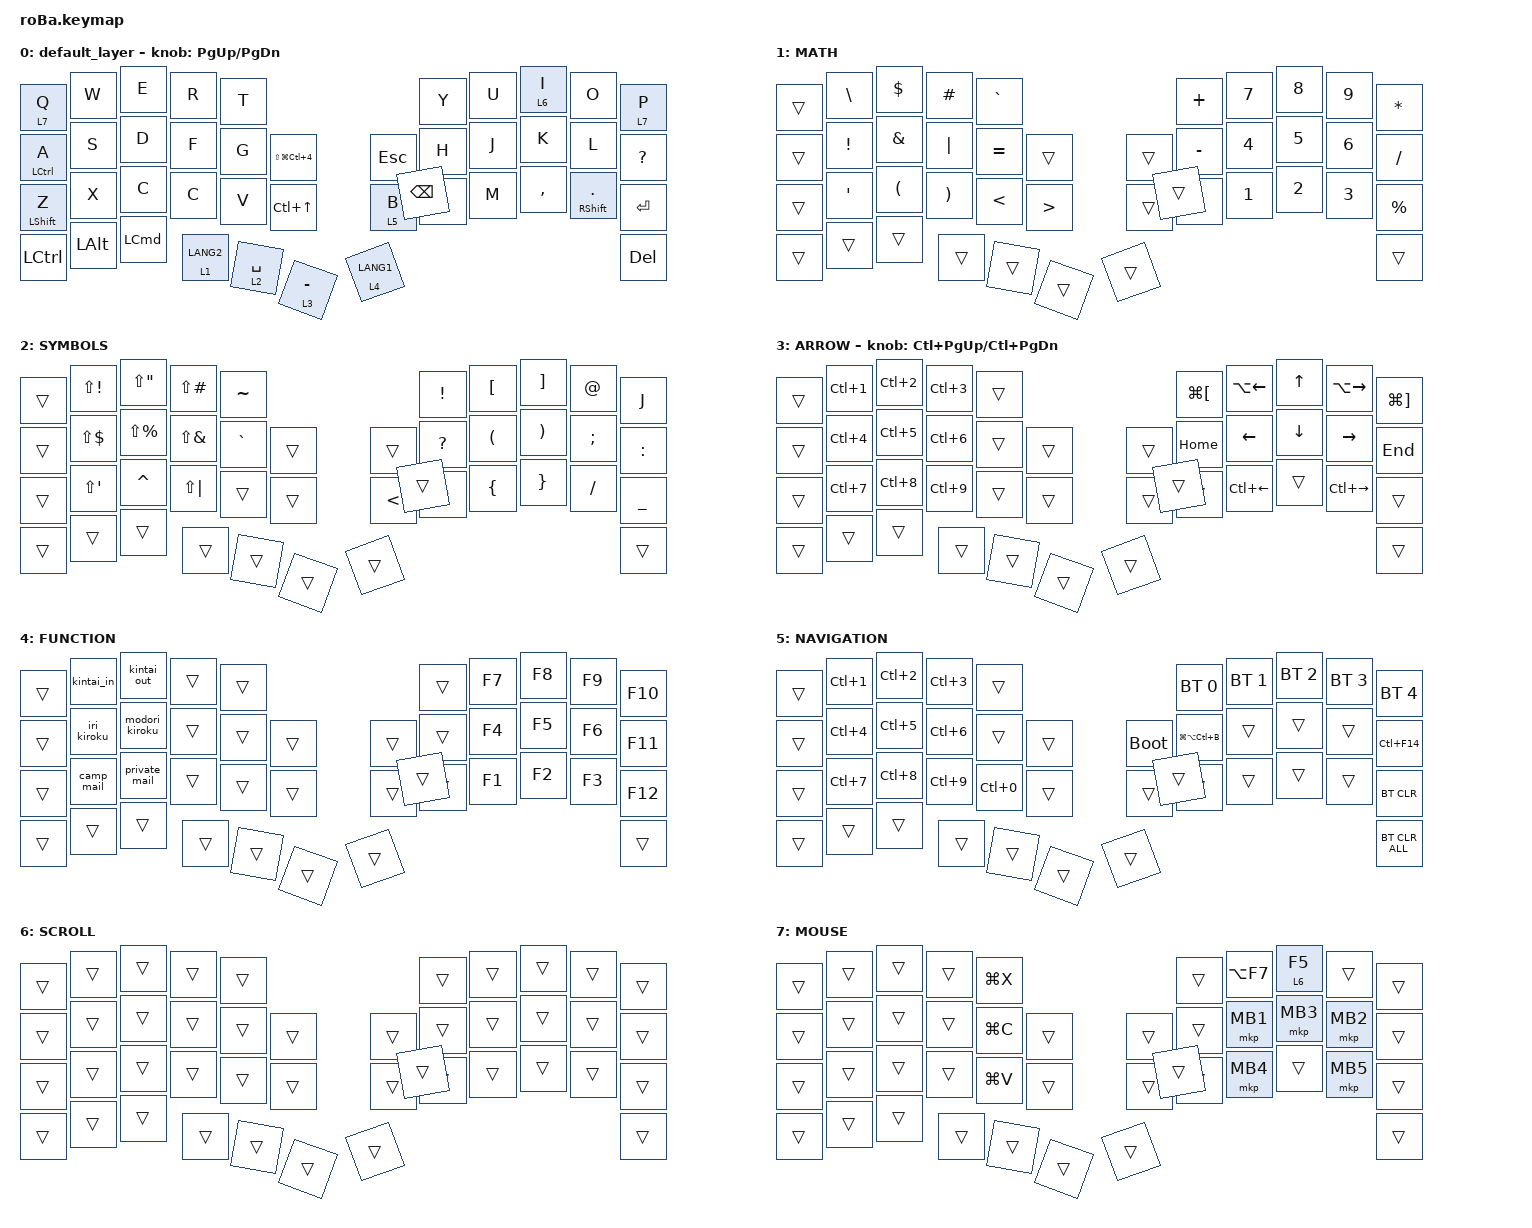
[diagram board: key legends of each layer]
#include <behaviors.dtsi>
#include <dt-bindings/zmk/bt.h>
#include <dt-bindings/zmk/keys.h>
#include <dt-bindings/zmk/pointing.h>

&mt {
    flavor = "balanced";
    quick-tap-ms = <0>;
};

&trackball {
    automouse-layer = <7>;
    scroll-layers = <6>;

    // arrows {
    //     layers = <3>;
    //     bindings =
    //         <&kp RIGHT_ARROW>,
    //         <&kp LEFT_ARROW>,
    //         <&kp UP_ARROW>,
    //         <&kp DOWN_ARROW>;
    //     tick = <10>;
    //     wait-ms = <5>;
    //     tap-ms = <5>;
    // };
};

/ {
    combos {
        compatible = "zmk,combos";

        tab {
            bindings = <&kp TAB>;
            key-positions = <11 10>;
        };

        shift_tab {
            bindings = <&kp LS(TAB)>;
            key-positions = <12 11>;
        };

        escape {
            bindings = <&kp ESCAPE>;
            key-positions = <0 1>;
        };

        leftB {
            bindings = <&kp B>;
            key-positions = <27 26>;
        };

        chikyu {
            bindings = <&kp GLOBE>;
            key-positions = <39 40>;
        };
    };

    macros {
        to_layer_0: to_layer_0 {
            compatible = "zmk,behavior-macro-one-param";
            #binding-cells = <1>;
            bindings = <&to 0 &macro_param_1to1 &kp MACRO_PLACEHOLDER>;
            label = "TO_LAYER_0";
        };

        camp_mail: kintai_iri {
            compatible = "zmk,behavior-macro";
            #binding-cells = <0>;
            bindings = <&kp LANG2 &kp Y &kp U &kp I &kp C &kp H &kp I &kp R &kp O &kp DOT &kp K &kp A &kp W &kp A &kp N &kp O &kp AT &kp C &kp A &kp M &kp P &kp MINUS &kp F &kp I &kp R &kp E &kp DOT &kp J &kp P>;
            label = "KINTAI_IRI";
        };

        private_mail: private_mail {
            compatible = "zmk,behavior-macro";
            #binding-cells = <0>;
            bindings = <&kp LANG2 &kp T &kp R &kp E &kp S &kp E &kp N &kp E &kp R &kp DOT &kp Y &kp U &kp N1 &kp R &kp O &kp AT &kp G &kp M &kp A &kp I &kp L &kp DOT &kp C &kp O &kp M>;
            label = "PRIVATE_MAIL";
        };

        kintai_in: kintai_in {
            compatible = "zmk,behavior-macro";
            #binding-cells = <0>;
            bindings =
                <&kp LANG2 &kp I &kp N>,
                <&macro_wait_time 350>,
                <&kp RET &kp UP_ARROW &kp R>,
                <&macro_wait_time 0>,
                <&kp O &kp H &kp A &kp RET>;

            label = "KINTAI_IN";
        };

        kintai_out: kintai_out {
            compatible = "zmk,behavior-macro";
            #binding-cells = <0>;
            bindings =
                <&kp LANG2 &kp O &kp U &kp T>,
                <&macro_wait_time 350>,
                <&kp RET &kp UP_ARROW &kp R>,
                <&macro_wait_time 0>,
                <&kp O &kp T &kp S &kp U &kp K &kp A &kp R &kp E &kp RET>;

            label = "KINTAI_OUT";
        };

        iri_kiroku: iri_kiroku {
            compatible = "zmk,behavior-macro";
            #binding-cells = <0>;
            bindings =
                <&kp LANG1 &kp K &kp Y &kp U &kp U &kp K &kp E &kp I &kp I &kp R &kp I &kp SPACE>,
                <&macro_wait_time 350>,
                <&kp RET &kp RET &kp UP_ARROW &kp R>,
                <&macro_wait_time 0>,
                <&kp LANG2 &kp K &kp Y &kp U &kp U &kp K &kp E &kp I &kp I &kp RET>;

            label = "IRI_KIROKU";
        };

        modori_kiroku: modori_kiroku {
            compatible = "zmk,behavior-macro";
            #binding-cells = <0>;
            bindings =
                <&kp LANG1 &kp K &kp Y &kp U &kp U &kp K &kp E &kp I &kp M &kp O &kp D &kp O &kp R &kp I &kp SPACE>,
                <&macro_wait_time 350>,
                <&kp RET &kp RET &kp UP_ARROW &kp R>,
                <&macro_wait_time 0>,
                <&kp LANG2 &kp K &kp Y &kp U &kp U &kp K &kp E &kp I &kp M &kp ENTER>;

            label = "MODORI_KIROKU";
        };
    };

    behaviors {
        lt_to_layer_0: lt_to_layer_0 {
            compatible = "zmk,behavior-hold-tap";
            label = "LAYER_TAP_TO_0";
            bindings = <&mo>, <&to_layer_0>;

            #binding-cells = <2>;
            tapping-term-ms = <200>;
        };
    };

    keymap {
        compatible = "zmk,keymap";

        default_layer {
            bindings = <
&lt 7 Q           &kp W         &kp E             &kp R        &kp T                                                   &kp Y          &kp U  &lt 6 I    &kp O                &lt 7 P
&mt LCTRL A       &kp S         &kp D             &kp F        &kp G        &kp LS(LG(LC(NUMBER_4)))      &kp ESC      &kp H          &kp J  &kp K      &kp L                &kp QUESTION
&mt LEFT_SHIFT Z  &kp X         &kp C             &kp C        &kp V        &kp LC(UP_ARROW)              &lt 5 B      &kp N          &kp M  &kp COMMA  &mt RIGHT_SHIFT DOT  &kp ENTER
&kp LCTRL         &kp LEFT_ALT  &kp LEFT_COMMAND  &lt 1 LANG2  &lt 2 SPACE  &lt 3 MINUS                   &lt 4 LANG1  &kp BACKSPACE                                         &kp DEL
            >;

            sensor-bindings = <&inc_dec_kp PAGE_UP PAGE_DOWN>;
        };

        MATH {
            bindings = <
&trans  &kp BACKSLASH     &kp DOLLAR            &kp HASH               &kp GRAVE                                    &kp PLUS      &kp NUMBER_7  &kp NUMBER_8  &kp NUMBER_9  &kp ASTRK
&trans  &kp EXCLAMATION   &kp AMPERSAND         &kp PIPE               &kp EQUAL      &trans                &trans  &kp MINUS     &kp NUMBER_4  &kp NUMBER_5  &kp NUMBER_6  &kp SLASH
&trans  &kp SINGLE_QUOTE  &kp LEFT_PARENTHESIS  &kp RIGHT_PARENTHESIS  &kp LESS_THAN  &kp GREATER_THAN      &trans  &kp NUMBER_0  &kp NUMBER_1  &kp NUMBER_2  &kp NUMBER_3  &kp PERCENT
&trans  &trans            &trans                &trans                 &trans         &trans                &trans  &trans                                                  &trans
            >;
        };

        SYMBOLS {
            bindings = <
&trans  &kp LS(EXCL)  &kp LS(DQT)    &kp LS(POUND)  &kp TILDE                             &kp EXCLAMATION   &kp LBKT              &kp RBKT               &kp AT    &kp J
&trans  &kp LS(DLLR)  &kp LS(PRCNT)  &kp LS(AMPS)   &kp GRAVE  &trans      &trans         &kp QUESTION      &kp LEFT_PARENTHESIS  &kp RIGHT_PARENTHESIS  &kp SEMI  &kp COLON
&trans  &kp LS(SQT)   &kp CARET      &kp LS(PIPE)   &trans     &trans      &kp LESS_THAN  &kp GREATER_THAN  &kp LEFT_BRACE        &kp RIGHT_BRACE        &kp FSLH  &kp UNDER
&trans  &trans        &trans         &trans         &trans     &trans      &trans         &trans                                                                   &trans
            >;
        };

        ARROW {
            bindings = <
&trans  &kp LC(NUMBER_1)  &kp LC(NUMBER_2)  &kp LC(NUMBER_3)  &trans                      &kp LG(LEFT_BRACKET)  &kp LA(LEFT)        &kp UP_ARROW    &kp LA(RIGHT_ARROW)  &kp LG(RIGHT_BRACKET)
&trans  &kp LC(NUMBER_4)  &kp LC(NUMBER_5)  &kp LC(NUMBER_6)  &trans  &trans      &trans  &kp HOME              &kp LEFT_ARROW      &kp DOWN_ARROW  &kp RIGHT_ARROW      &kp END
&trans  &kp LC(NUMBER_7)  &kp LC(NUMBER_8)  &kp LC(NUMBER_9)  &trans  &trans      &trans  &trans                &kp LC(LEFT_ARROW)  &trans          &kp LC(RIGHT_ARROW)  &trans
&trans  &trans            &trans            &trans            &trans  &trans      &trans  &trans                                                                         &trans
            >;

            sensor-bindings = <&inc_dec_kp LC(PAGE_UP) LC(PAGE_DOWN)>;
        };

        FUNCTION {
            bindings = <
&trans  &kintai_in   &kintai_out     &trans  &trans                      &trans  &kp F7  &kp F8  &kp F9  &kp F10
&trans  &iri_kiroku  &modori_kiroku  &trans  &trans  &trans      &trans  &trans  &kp F4  &kp F5  &kp F6  &kp F11
&trans  &camp_mail   &private_mail   &trans  &trans  &trans      &trans  &trans  &kp F1  &kp F2  &kp F3  &kp F12
&trans  &trans       &trans          &trans  &trans  &trans      &trans  &trans                          &trans
            >;
        };

        NAVIGATION {
            bindings = <
&trans  &kp LC(NUMBER_1)  &kp LC(NUMBER_2)  &kp LC(NUMBER_3)  &trans                                     &bt BT_SEL 0       &bt BT_SEL 1  &bt BT_SEL 2  &bt BT_SEL 3  &bt BT_SEL 4
&trans  &kp LC(NUMBER_4)  &kp LC(NUMBER_5)  &kp LC(NUMBER_6)  &trans            &trans      &bootloader  &kp LG(LA(LC(B)))  &trans        &trans        &trans        &kp LC(F14)
&trans  &kp LC(NUMBER_7)  &kp LC(NUMBER_8)  &kp LC(NUMBER_9)  &kp LC(NUMBER_0)  &trans      &trans       &trans             &trans        &trans        &trans        &bt BT_CLR
&trans  &trans            &trans            &trans            &trans            &trans      &trans       &trans                                                       &bt BT_CLR_ALL
            >;
        };

        SCROLL {
            bindings = <
&trans  &trans  &trans  &trans  &trans                      &trans  &trans  &trans  &trans  &trans
&trans  &trans  &trans  &trans  &trans  &trans      &trans  &trans  &trans  &trans  &trans  &trans
&trans  &trans  &trans  &trans  &trans  &trans      &trans  &trans  &trans  &trans  &trans  &trans
&trans  &trans  &trans  &trans  &trans  &trans      &trans  &trans                          &trans
            >;
        };

        MOUSE {
            bindings = <
&trans  &trans  &trans  &trans  &kp LG(X)                      &trans  &kp LA(F7)  &lt 6 F5  &trans    &trans
&trans  &trans  &trans  &trans  &kp LG(C)  &trans      &trans  &trans  &mkp MB1    &mkp MB3  &mkp MB2  &trans
&trans  &trans  &trans  &trans  &kp LG(V)  &trans      &trans  &trans  &mkp MB4    &trans    &mkp MB5  &trans
&trans  &trans  &trans  &trans  &trans     &trans      &trans  &trans                                  &trans
            >;
        };
    };
};
